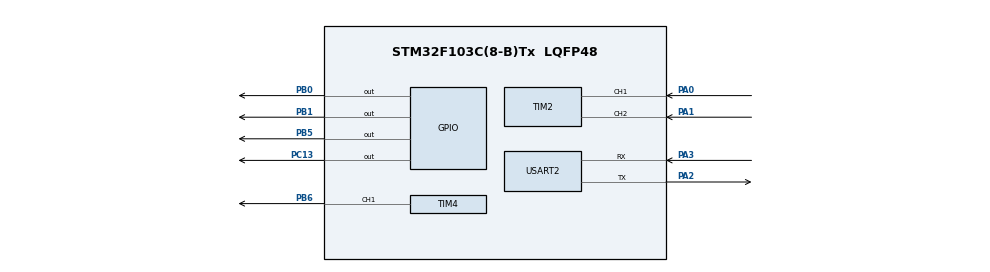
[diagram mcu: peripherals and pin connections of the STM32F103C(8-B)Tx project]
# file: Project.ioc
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FREERTOS.INCLUDE_vTaskDelayUntil=1
FREERTOS.Tasks01=defaultTask,-2,512,StartDefaultTask,Default,NULL,Dynamic,NULL,NULL;sinTask,0,256,StartSinTask,Default,NULL,Dynamic,NULL,NULL;pidTask,1,256,StartpidTask,Default,NULL,Dynamic,NULL,NULL
FREERTOS.configTOTAL_HEAP_SIZE=8192
Mcu.Family=STM32F1
Mcu.Name=STM32F103C(8-B)Tx
Mcu.Package=LQFP48
NVIC.PriorityGroup=NVIC_PRIORITYGROUP_4
NVIC.TIM3_IRQn=true\:15\:0\:false\:false\:true\:false\:false\:true\:true
NVIC.TimeBase=TIM3_IRQn
NVIC.TimeBaseIP=TIM3
NVIC.USART2_IRQn=true\:5\:0\:false\:false\:true\:true\:true\:true\:true
PA0-WKUP.Signal=S_TIM2_CH1_ETR
PA1.Signal=S_TIM2_CH2
PA13.Mode=Serial_Wire
PA13.Signal=SYS_JTMS-SWDIO
PA14.Mode=Serial_Wire
PA14.Signal=SYS_JTCK-SWCLK
PA2.Mode=Asynchronous
PA2.Signal=USART2_TX
PA3.Mode=Asynchronous
PA3.Signal=USART2_RX
PB0.GPIO_PuPd=GPIO_PULLDOWN
PB0.Signal=GPIO_Output
PB1.GPIO_PuPd=GPIO_PULLDOWN
PB1.Signal=GPIO_Output
PB5.GPIO_PuPd=GPIO_PULLDOWN
PB5.Signal=GPIO_Output
PB6.Signal=S_TIM4_CH1
PC13-TAMPER-RTC.GPIO_ModeDefaultOutputPP=GPIO_MODE_OUTPUT_OD
PC13-TAMPER-RTC.GPIO_PuPd=GPIO_NOPULL
PC13-TAMPER-RTC.GPIO_Speed=GPIO_SPEED_FREQ_LOW
PC13-TAMPER-RTC.Signal=GPIO_Output
ProjectManager.HeapSize=0x200
ProjectManager.StackSize=0x400
ProjectManager.TargetToolchain=MDK-ARM V5.32
RCC.APB1Freq_Value=8000000
RCC.APB2Freq_Value=8000000
SH.S_TIM2_CH1_ETR.0=TIM2_CH1,Encoder_Interface
SH.S_TIM2_CH2.0=TIM2_CH2,Encoder_Interface
SH.S_TIM4_CH1.0=TIM4_CH1,PWM Generation1 CH1
TIM2.EncoderMode=TIM_ENCODERMODE_TI12
TIM4.AutoReloadPreload=TIM_AUTORELOAD_PRELOAD_DISABLE
TIM4.Channel-PWM\ Generation1\ CH1=TIM_CHANNEL_1
TIM4.Period=3599
USART2.VirtualMode=VM_ASYNC
VP_FREERTOS_VS_CMSIS_V1.Mode=CMSIS_V1
VP_SYS_VS_tim3.Mode=TIM3
VP_TIM4_VS_ClockSourceINT.Mode=Internal
board=custom

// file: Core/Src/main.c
/* USER CODE BEGIN Header */
/**
  ******************************************************************************
  * @file           : main.c
  * @brief          : Main program body
  ******************************************************************************
  * @attention
  *
  * Copyright (c) 2026 STMicroelectronics.
  * All rights reserved.
  *
  * This software is licensed under terms that can be found in the LICENSE file
  * in the root directory of this software component.
  * If no LICENSE file comes with this software, it is provided AS-IS.
  *
  ******************************************************************************
  */
/* USER CODE END Header */
#include "main.h"
#include "cmsis_os.h"
#include "tim.h"
#include "usart.h"
#include "gpio.h"

/* USER CODE BEGIN Includes */
#include <stdio.h>
#include <stdlib.h>
#include "PID.h"
#include "Motor.h"
/* USER CODE END Includes */

/* USER CODE BEGIN PD */
#define CMD_LEN 24
/* USER CODE END PD */

/* USER CODE BEGIN PV */
static char s_cmd[CMD_LEN];
static uint8_t s_index;
static uint8_t s_in;

static uint8_t s_rx_byte;

extern PID_t g_pid;
/* USER CODE END PV */

void SystemClock_Config(void);
void MX_FREERTOS_Init(void);
/* USER CODE BEGIN PFP */
void CMD_Feed(uint8_t ch);
void CMD_Parse(char *s);
/* USER CODE END PFP */

/* USER CODE BEGIN 0 */
int fputc(int ch, FILE *f)
{
    uint8_t c = (uint8_t)ch;
    HAL_UART_Transmit(&huart2, &c, 1u, 10u);
    return ch;
}

void CMD_Feed(uint8_t ch)
{
	if(ch == '[')
	{
		s_index = 0;
		s_in    = 1;
		return;
	}

	if(s_in == 0)return;

	if(ch == ']')
	{
		s_cmd[s_index] = '\0';
		CMD_Parse(s_cmd);
		s_in = 0;
		return;
	}

	if(s_index < CMD_LEN - 1)
	{
		s_cmd[s_index++] = (char)ch;

	}else{
		s_in = 0;
	}
}

void CMD_Parse(char *s)
{

	char *end;
  float v;

	if(s[0] == 'k' && s[1] == 'p' && s[2] == '='){
		v = strtof(&s[3], &end);
		if (end != &s[3]) { g_pid.kp = v; }
	}

	else if(s[0] == 'k' && s[1] == 'i' && s[2] == '='){
		v = strtof(&s[3], &end);
		if (end != &s[3]) { g_pid.ki = v; }
	}

	else if(s[0] == 'k' && s[1] == 'd' && s[2] == '='){
		v = strtof(&s[3], &end);
		if (end != &s[3]) { g_pid.kd = v; }
	}

	else if(s[0] == 'z')
		PID_Reset(&g_pid);
}

void HAL_UART_RxCpltCallback(UART_HandleTypeDef *huart)
{
	if(huart->Instance == USART2)
	{
		CMD_Feed(s_rx_byte);

		HAL_UART_Receive_IT(&huart2, &s_rx_byte, 1);
	}
}
/* USER CODE END 0 */

int main(void)
{

  /* MCU Configuration--------------------------------------------------------*/

  /* Reset of all peripherals, Initializes the Flash interface and the Systick. */
  HAL_Init();

  /* Configure the system clock */
  SystemClock_Config();

  /* Initialize all configured peripherals */
  MX_GPIO_Init();
  MX_USART2_UART_Init();
  MX_TIM4_Init();
  MX_TIM2_Init();
  /* USER CODE BEGIN 2 */
	Motor_Init();
	HAL_UART_Receive_IT(&huart2, &s_rx_byte, 1);
  /* USER CODE END 2 */

  /* Call init function for freertos objects (in cmsis_os2.c) */
  MX_FREERTOS_Init();

  /* Start scheduler */
  osKernelStart();

  /* We should never get here as control is now taken by the scheduler */

  /* Infinite loop */
  while (1)
  {

  }
}

void SystemClock_Config(void)
{
  RCC_OscInitTypeDef RCC_OscInitStruct = {0};
  RCC_ClkInitTypeDef RCC_ClkInitStruct = {0};

  /** Initializes the RCC Oscillators according to the specified parameters
  * in the RCC_OscInitTypeDef structure.
  */
  RCC_OscInitStruct.OscillatorType = RCC_OSCILLATORTYPE_HSI;
  RCC_OscInitStruct.HSIState = RCC_HSI_ON;
  RCC_OscInitStruct.HSICalibrationValue = RCC_HSICALIBRATION_DEFAULT;
  RCC_OscInitStruct.PLL.PLLState = RCC_PLL_NONE;
  if (HAL_RCC_OscConfig(&RCC_OscInitStruct) != HAL_OK)
  {
    Error_Handler();
  }

  /** Initializes the CPU, AHB and APB buses clocks
  */
  RCC_ClkInitStruct.ClockType = RCC_CLOCKTYPE_HCLK|RCC_CLOCKTYPE_SYSCLK
                              |RCC_CLOCKTYPE_PCLK1|RCC_CLOCKTYPE_PCLK2;
  RCC_ClkInitStruct.SYSCLKSource = RCC_SYSCLKSOURCE_HSI;
  RCC_ClkInitStruct.AHBCLKDivider = RCC_SYSCLK_DIV1;
  RCC_ClkInitStruct.APB1CLKDivider = RCC_HCLK_DIV1;
  RCC_ClkInitStruct.APB2CLKDivider = RCC_HCLK_DIV1;

  if (HAL_RCC_ClockConfig(&RCC_ClkInitStruct, FLASH_LATENCY_0) != HAL_OK)
  {
    Error_Handler();
  }
}

void HAL_TIM_PeriodElapsedCallback(TIM_HandleTypeDef *htim)
{
  if (htim->Instance == TIM3) {
    HAL_IncTick();
  }
}

void Error_Handler(void)
{
  __disable_irq();
  while (1)
  {
  }
}

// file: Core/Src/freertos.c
/* USER CODE BEGIN Header */
/**
  ******************************************************************************
  * File Name          : freertos.c
  * Description        : Code for freertos applications
  ******************************************************************************
  * @attention
  *
  * Copyright (c) 2026 STMicroelectronics.
  * All rights reserved.
  *
  * This software is licensed under terms that can be found in the LICENSE file
  * in the root directory of this software component.
  * If no LICENSE file comes with this software, it is provided AS-IS.
  *
  ******************************************************************************
  */
/* USER CODE END Header */

#include "FreeRTOS.h"
#include "task.h"
#include "main.h"
#include "cmsis_os.h"

/* USER CODE BEGIN Includes */
#include <stdio.h>
#include <math.h>

#include "tim.h"

#include "Motor.h"
#include "PID.h"
/* USER CODE END Includes */

/* USER CODE BEGIN Variables */

volatile float g_target;           /* 任务间共享：目标速度 */
PID_t g_pid;
volatile float g_actual;

/* USER CODE END Variables */
osThreadId defaultTaskHandle;
osThreadId sinTaskHandle;
osThreadId pidTaskHandle;

void StartDefaultTask(void const * argument);
void StartSinTask(void const * argument);
void StartpidTask(void const * argument);

void MX_FREERTOS_Init(void); /* (MISRA C 2004 rule 8.1) */

/* GetIdleTaskMemory prototype (linked to static allocation support) */
void vApplicationGetIdleTaskMemory( StaticTask_t **ppxIdleTaskTCBBuffer, StackType_t **ppxIdleTaskStackBuffer, uint32_t *pulIdleTaskStackSize );

/* USER CODE BEGIN GET_IDLE_TASK_MEMORY */
static StaticTask_t xIdleTaskTCBBuffer;
static StackType_t xIdleStack[configMINIMAL_STACK_SIZE];

void vApplicationGetIdleTaskMemory( StaticTask_t **ppxIdleTaskTCBBuffer, StackType_t **ppxIdleTaskStackBuffer, uint32_t *pulIdleTaskStackSize )
{
  *ppxIdleTaskTCBBuffer = &xIdleTaskTCBBuffer;
  *ppxIdleTaskStackBuffer = &xIdleStack[0];
  *pulIdleTaskStackSize = configMINIMAL_STACK_SIZE;
  /* place for user code */
}
/* USER CODE END GET_IDLE_TASK_MEMORY */

void MX_FREERTOS_Init(void) {

  /* Create the thread(s) */
  /* definition and creation of defaultTask */
  osThreadDef(defaultTask, StartDefaultTask, osPriorityLow, 0, 512);
  defaultTaskHandle = osThreadCreate(osThread(defaultTask), NULL);

  /* definition and creation of sinTask */
  osThreadDef(sinTask, StartSinTask, osPriorityNormal, 0, 256);
  sinTaskHandle = osThreadCreate(osThread(sinTask), NULL);

  /* definition and creation of pidTask */
  osThreadDef(pidTask, StartpidTask, osPriorityAboveNormal, 0, 256);
  pidTaskHandle = osThreadCreate(osThread(pidTask), NULL);

}

void StartDefaultTask(void const * argument)
{
  /* USER CODE BEGIN StartDefaultTask */
	// Motor_Init();
	// Motor_SetOutput(30.0f);

	// uint32_t last_print = 0;
  // float v = 0.0f;
  /* Infinite loop */
  for(;;)
  {
		// 并发测试代码
    // printf("A ");
    // osDelay(100);

		// 打印模拟PID
		printf("%f,%f\r\n", g_target, g_actual);
    // osDelay(20);          /* 100ms 打印 */

		// v = Motor_GetSpeed();                    /* 必须�? 10ms �? */
    // Motor_SetOutput(30.0f);                  /* 保持输出不变 */

    // if (HAL_GetTick() - last_print >= 100u)
    // {
    //   last_print = HAL_GetTick();
    //   printf("%d\r\n", (int)v);
    // }
		// printf("%f\r\n",(float)g_pid.kp);

    osDelay(50);
  }
  /* USER CODE END StartDefaultTask */
}

void StartSinTask(void const * argument)
{
  /* USER CODE BEGIN StartSinTask */
  /* Infinite loop */

	// HAL_TIM_PWM_Start(&htim4, TIM_CHANNEL_1);
	// HAL_GPIO_WritePin(GPIOB, GPIO_PIN_5, GPIO_PIN_SET);
  for(;;)
  {
		// 并发测试代码
		// printf("B ");
    // osDelay(500);

	 // /* 2 秒一个完整周期，幅度 ±100 */
   // float t = (float)(HAL_GetTick() % 2000u) / 1000.0f;
   // g_target = 100.0f /* * sinf(2.0f * 3.1415926f * t / 2.0f)*/;

	 // HAL_GPIO_WritePin(GPIOB, GPIO_PIN_0, GPIO_PIN_SET);
	 // HAL_GPIO_WritePin(GPIOB, GPIO_PIN_1, GPIO_PIN_RESET);
	 // __HAL_TIM_SET_COMPARE(&htim4, TIM_CHANNEL_1, 1080);
   // osDelay(2000);
	 //
	 // HAL_GPIO_WritePin(GPIOB, GPIO_PIN_0, GPIO_PIN_RESET);
	 // HAL_GPIO_WritePin(GPIOB, GPIO_PIN_1, GPIO_PIN_SET);
	 // __HAL_TIM_SET_COMPARE(&htim4, TIM_CHANNEL_1, 1080);
   // osDelay(2000);
	 //
	 // HAL_GPIO_WritePin(GPIOB, GPIO_PIN_0, GPIO_PIN_RESET);
	 // HAL_GPIO_WritePin(GPIOB, GPIO_PIN_1, GPIO_PIN_RESET);
	 // __HAL_TIM_SET_COMPARE(&htim4, TIM_CHANNEL_1, 0);
   // osDelay(2000);

	 // g_target = 100.0f;

	 // g_target = ((HAL_GetTick() / 3000u) % 2u) ? 100.0f : 0.0f;

	 float t = (float)(HAL_GetTick() % 2000u) / 1000.0f;
   g_target = 100.0f * sinf(2.0f * 3.1415926f * t / 2.0f);
	 osDelay(10);
  }
  /* USER CODE END StartSinTask */
}

void StartpidTask(void const * argument)
{
  /* USER CODE BEGIN StartpidTask */
	PID_Init(&g_pid, 1.0f, 0.5f, 0.0f, 100.0f, 500.0f);
	TickType_t xLastWake = xTaskGetTickCount();
  /* Infinite loop */
  for(;;)
  {
		float actual = Motor_GetSpeed();    // 反馈
		float out = PID_Calc(&g_pid, g_target, actual, 0.01f);
		Motor_SetOutput(out);								// 输出
		g_actual = actual;

    vTaskDelayUntil(&xLastWake, pdMS_TO_TICKS(10));
  }
  /* USER CODE END StartpidTask */
}
